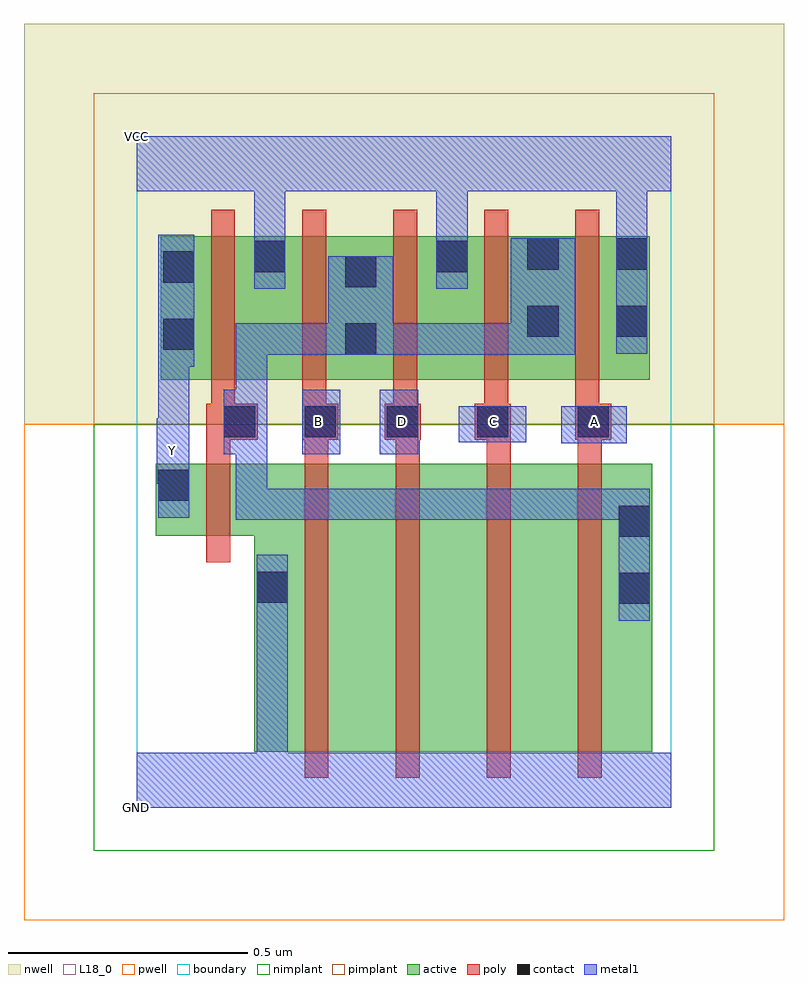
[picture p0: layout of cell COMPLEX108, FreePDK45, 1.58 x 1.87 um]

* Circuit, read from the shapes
.subckt COMPLEX108 A B C D GND VCC Y
M1 GND n1 Y VSUBS nfet w=0.15u l=0.05u
M2 n2 B GND VSUBS nfet w=0.6u l=0.05u
M3 n3 D n2 VSUBS nfet w=0.6u l=0.05u
M4 n4 C n3 VSUBS nfet w=0.6u l=0.05u
M5 n1 A n4 VSUBS nfet w=0.6u l=0.05u
M6 VCC n1 Y n5 pfet w=0.3u l=0.05u
M7 n1 B VCC n5 pfet w=0.3u l=0.05u
M8 VCC D n1 n5 pfet w=0.3u l=0.05u
M9 n1 C VCC n5 pfet w=0.3u l=0.05u
M10 VCC A n1 n5 pfet w=0.3u l=0.05u
.ends

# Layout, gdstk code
import gdstk
lib = gdstk.Library(unit=1e-6, precision=1e-09)
def R(c, l, rs):  # rectangles x0, y0, x1, y1
    for r in rs: c.add(gdstk.rectangle(r[:2], r[2:], *l))
def A(c, l, x, y, w, h, nx, ny, dx, dy):  # array of equal rectangles
    R(c, l, [(x+i*dx, y+j*dy, x+i*dx+w, y+j*dy+h) for i in range(nx) for j in range(ny)])
active = (1, 0)
pwell = (2, 0)
nwell = (3, 0)
nimplant = (4, 0)
pimplant = (5, 0)
poly = (9, 0)
contact = (10, 0)
metal1 = (11, 0)
L18_0 = (18, 0)
boundary = (235, 0)

complex108 = lib.new_cell('COMPLEX108')
A(complex108, active, 0.05, 0.892, 0.265, 0.3, 4, 1, 0.19, 0)
R(complex108, active, [(0.245,0.117,0.47,0.717), (0.47,0.117,0.66,0.717), (0.66,0.117,0.85,0.717), (0.85,0.117,1.075,0.717), (1,0.145,1.075,0.717), (0.245,0.422,0.32,0.567), (0.04,0.567,0.32,0.717), (0.04,0.567,0.115,0.717), (0.05,0.892,0.125,1.167), (0.43,0.892,0.505,1.192), (0.81,0.892,0.885,1.192), (0.81,0.892,1.07,1.192), (0.995,0.892,1.07,1.192), (0.24,1.002,0.315,1.192), (0.62,1.002,0.695,1.192)])
R(complex108, pwell, [(-0.235,-0.235,1.35,0.8)])
R(complex108, nwell, [(-0.235,0.8,1.35,1.635)])
R(complex108, nimplant, [(-0.09,-0.09,1.205,0.8)])
R(complex108, pimplant, [(-0.09,0.8,1.205,1.49)])
A(complex108, poly, 0.35, 0.062, 0.05, 0.71, 4, 1, 0.19, 0)
A(complex108, poly, 0.35, 0.722, 0.05, 0.095, 4, 1, 0.19, 0)
A(complex108, poly, 0.155, 0.792, 0.05, 0.095, 5, 1, 0.19, 0)
A(complex108, poly, 0.155, 0.837, 0.05, 0.41, 5, 1, 0.19, 0)
R(complex108, poly, [(0.145,0.512,0.195,0.772), (0.145,0.722,0.195,0.817), (0.145,0.767,0.252,0.842), (0.345,0.767,0.42,0.842), (0.517,0.767,0.592,0.842), (0.705,0.767,0.78,0.842), (0.915,0.767,0.99,0.842)])
R(complex108, contact, [(1.005,0.425,1.07,0.49), (0.25,0.427,0.315,0.492), (1.005,0.565,1.07,0.63), (0.045,0.64,0.11,0.705), (0.182,0.772,0.247,0.837), (0.35,0.772,0.415,0.837), (0.522,0.772,0.587,0.837), (0.71,0.772,0.775,0.837), (0.92,0.772,0.985,0.837), (0.435,0.945,0.5,1.01), (0.055,0.955,0.12,1.02), (0.815,0.982,0.88,1.047), (1,0.982,1.065,1.047), (0.435,1.085,0.5,1.15), (0.055,1.095,0.12,1.16), (0.245,1.117,0.31,1.182), (0.625,1.117,0.69,1.182), (0.815,1.122,0.88,1.187), (1,1.122,1.065,1.187)])
R(complex108, metal1, [(0,0,1.115,0.115), (0.25,0.05,0.315,0.115), (0.25,0.05,0.315,0.115), (0.25,0.05,0.315,0.457), (1.005,0.39,1.07,0.665), (0.25,0.392,0.315,0.527), (0.207,0.6,0.272,0.665), (0.207,0.6,0.432,0.665), (0.207,0.6,0.272,0.802), (0.367,0.6,0.432,0.665), (0.367,0.6,0.432,0.665), (0.367,0.6,0.432,0.665), (0.367,0.6,0.57,0.665), (0.505,0.6,0.57,0.665), (0.505,0.6,0.707,0.665), (0.642,0.6,0.707,0.665), (0.642,0.6,0.707,0.665), (0.642,0.6,0.707,0.665), (0.642,0.6,0.927,0.665), (0.862,0.6,0.927,0.665), (0.862,0.6,0.927,0.665), (0.862,0.6,0.927,0.665), (0.862,0.6,1.07,0.665), (0.045,0.605,0.11,0.74), (0.042,0.675,0.11,0.812), (0.045,0.675,0.11,0.74), (0.182,0.737,0.247,0.872), (0.182,0.737,0.272,0.802), (0.207,0.737,0.272,0.802), (0.207,0.737,0.272,1.01), (0.345,0.737,0.425,0.872), (0.507,0.737,0.587,0.872), (0.045,0.747,0.11,0.985), (0.885,0.76,1.022,0.837), (0.672,0.762,0.812,0.837), (0.045,0.92,0.12,1.195), (0.207,0.945,0.272,1.01), (0.207,0.945,0.432,1.01), (0.367,0.945,0.432,1.01), (0.367,0.945,0.465,1.01), (0.4,0.945,0.535,1.15), (0.47,0.945,0.57,1.01), (0.505,0.945,0.57,1.01), (0.505,0.945,0.707,1.01), (0.642,0.945,0.707,1.01), (0.642,0.945,0.707,1.01), (0.642,0.945,0.707,1.01), (0.642,0.945,0.845,1.01), (0.78,0.945,0.915,1.187), (1,0.947,1.065,1.222), (0.245,1.082,0.31,1.217), (0.625,1.082,0.69,1.217), (0.245,1.152,0.31,1.35), (0.625,1.152,0.69,1.35), (1,1.157,1.065,1.222), (1,1.157,1.065,1.222), (1,1.157,1.065,1.35), (0,1.285,1.115,1.4), (0.245,1.285,0.31,1.35), (0.245,1.285,0.31,1.35), (0.625,1.285,0.69,1.35), (0.625,1.285,0.69,1.35)])
R(complex108, L18_0, [(0,0,1.115,0.115), (0.25,0.05,0.315,0.115), (0.25,0.05,0.315,0.115), (0.25,0.05,0.315,0.457), (0.25,0.392,0.315,0.527), (0.045,0.605,0.11,0.74), (0.042,0.675,0.11,0.812), (0.045,0.675,0.11,0.74), (0.042,0.712,0.107,0.777), (0.345,0.737,0.425,0.872), (0.507,0.737,0.587,0.872), (0.045,0.747,0.11,0.985), (0.885,0.76,1.022,0.837), (0.672,0.762,0.812,0.837), (0.347,0.772,0.412,0.837), (0.522,0.772,0.587,0.837), (0.712,0.772,0.777,0.837), (0.922,0.772,0.987,0.837), (0.045,0.92,0.12,1.195), (1,0.947,1.065,1.222), (0.245,1.082,0.31,1.217), (0.625,1.082,0.69,1.217), (0.245,1.152,0.31,1.35), (0.625,1.152,0.69,1.35), (1,1.157,1.065,1.222), (1,1.157,1.065,1.222), (1,1.157,1.065,1.35), (0,1.285,1.115,1.4), (0.245,1.285,0.31,1.35), (0.245,1.285,0.31,1.35), (0.625,1.285,0.69,1.35), (0.625,1.285,0.69,1.35)])
R(complex108, boundary, [(0,0,1.115,1.4)])
complex108.add(gdstk.Label('A', (0.955,0.805), layer=11, texttype=0))
complex108.add(gdstk.Label('B', (0.38,0.805), layer=11, texttype=0))
complex108.add(gdstk.Label('C', (0.745,0.805), layer=11, texttype=0))
complex108.add(gdstk.Label('D', (0.555,0.805), layer=11, texttype=0))
complex108.add(gdstk.Label('Y', (0.075,0.745), layer=11, texttype=0))
complex108.add(gdstk.Label('VCC', (0,1.4), layer=11, texttype=0))
complex108.add(gdstk.Label('GND', (0,0), layer=11, texttype=0))

lib.write_gds('COMPLEX108.gds')
